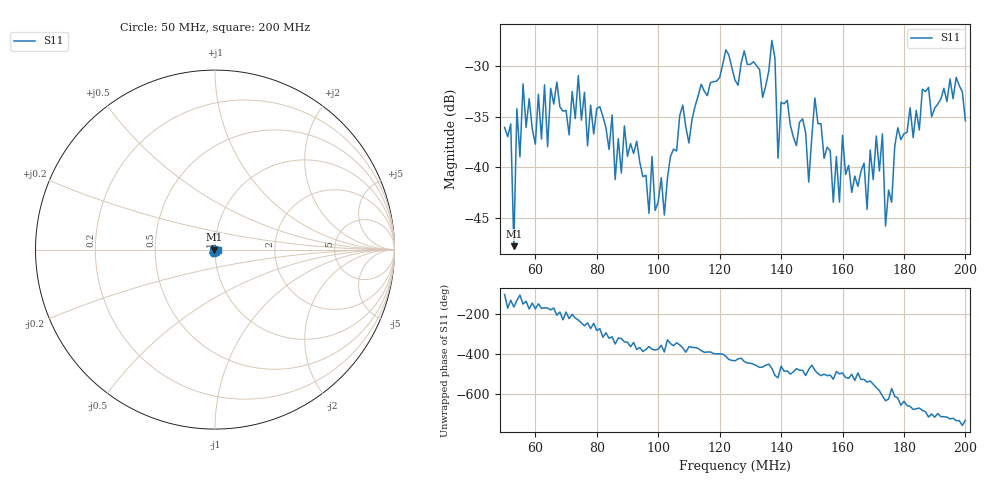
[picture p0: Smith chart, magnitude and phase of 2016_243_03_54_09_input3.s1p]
!Agilent N9923A: A.07.32
!Date: Tuesday, 30 August 2016 11:27:45
!Model: N9923A
!Serial: MY52412305
!GPS Latitude:
!GPS Longitude:
!GPS TimeStamp: 0001-01-01 00:00:00Z
!GPS Seconds Since Last Read: 0
!CHECKSUM:1910317833
!Correction: S11(Rdy)
!S1P File: Measurement: S11:
# Hz S DB R 50
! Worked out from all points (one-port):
!   151 points, 50 MHz to 200 MHz, reference 50 ohm
!   lowest |S11| = -47.8 dB at 53 MHz (marker M1), VSWR 1.01, Z = 49.6 - j0.117 ohm
!   |S11| at or under -10 dB: start of sweep to end of sweep
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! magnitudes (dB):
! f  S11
! 50 MHz  -36.1
! 52 MHz  -35.7
! 53 MHz  -47.8
! 54 MHz  -34.2
! 55 MHz  -39.0
! 56 MHz  -31.8
! 60 MHz  -37.7
! 69 MHz  -34.5
! 74 MHz  -30.9
! 77 MHz  -37.9
! 88 MHz  -40.6
! 89 MHz  -35.9
! 102 MHz  -44.7
! 107 MHz  -34.9
! 125 MHz  -31.4
! 137 MHz  -27.5
! 139 MHz  -39.1
! 140 MHz  -33.6
! 144 MHz  -37.0
! 149 MHz  -41.5
! 151 MHz  -33.2
! 157 MHz  -43.4
! 160 MHz  -36.8
! 163 MHz  -42.5
! 173 MHz  -36.7
! 174 MHz  -45.8
! 182 MHz  -34.1
! 200 MHz  -35.4
